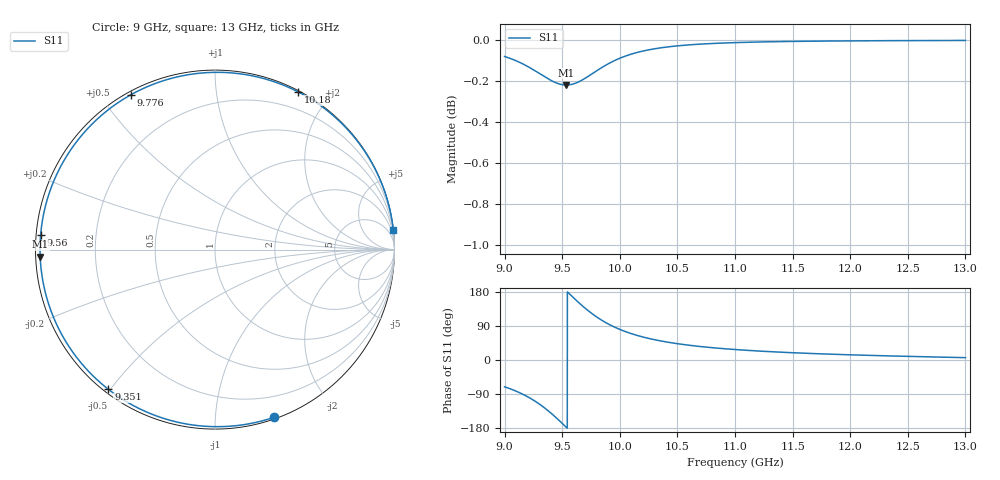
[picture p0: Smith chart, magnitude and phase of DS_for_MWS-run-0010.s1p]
! TOUCHSTONE file generated by CST DESIGN STUDIO
! Date and time: Tue Feb  4 13:01:08 2025
! Project name: C:\Work\MatlabApps\UnitCellOptimizationMatlab\CST\unitcell.cst
! Tree item: Tasks\Sweep1\SPara1\S-Parameters
! Header version: 2024
! Port assignment regex: !\s*Touchstone port\s*([0-9]+)\s*=\s*(CST MWS port|CST DES external port|CST DES block port)\s*(.+)\s* \(\"(.*)\"\)(\s*mode\s*([0-9]+))?.*
! Touchstone port assignment:
! Touchstone port 1 = CST DES external port 1 ("")
# GHz S MA R 50
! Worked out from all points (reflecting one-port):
!   4001 points, 9 GHz to 13 GHz, reference 50 ohm
!   lowest |S11| = -0.2 dB at 9.536 GHz (marker M1), VSWR 78.63, Z = 0.636 - j1.03 ohm
!   phase of S11 starts at -71 deg and turns -283 deg over the sweep
!   S11 on the Smith chart (normalised r, x): 9 GHz: 0.01, -1.41; 9.351 GHz: 0.01, -0.49; 9.56 GHz: 0.01, +0.04; 9.776 GHz: 0.01, +0.59; 10.18 GHz: 0.01, +1.66; 13 GHz: 0, +18
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9  0.9906 -70.7
9.099  0.9882 -82.1
9.207  0.9848 -98.2
9.283  0.9819 -112.4
9.351  0.9793 -127.4
9.422  0.9768 -145.3
9.463  0.9757 -156.6
9.5  0.9751 -167.1
9.536  0.9749 -177.6
9.56  0.975 175.3
9.614  0.9758 159.7
9.675  0.9777 142.9
9.725  0.9796 130.2
9.776  0.9817 118.5
9.824  0.9837 108.6
9.875  0.9856 99.2
9.933  0.9876 89.9
10  0.9896 80.7
10.088  0.9917 70.8
10.183  0.9933 62.1
10.328  0.9951 51.9
10.5  0.9965 43.0
10.721  0.9975 34.9
11  0.9983 27.6
11.5  0.999 19.2
12  0.9993 13.6
12.5  0.9994 9.6
13  0.9995 6.2
